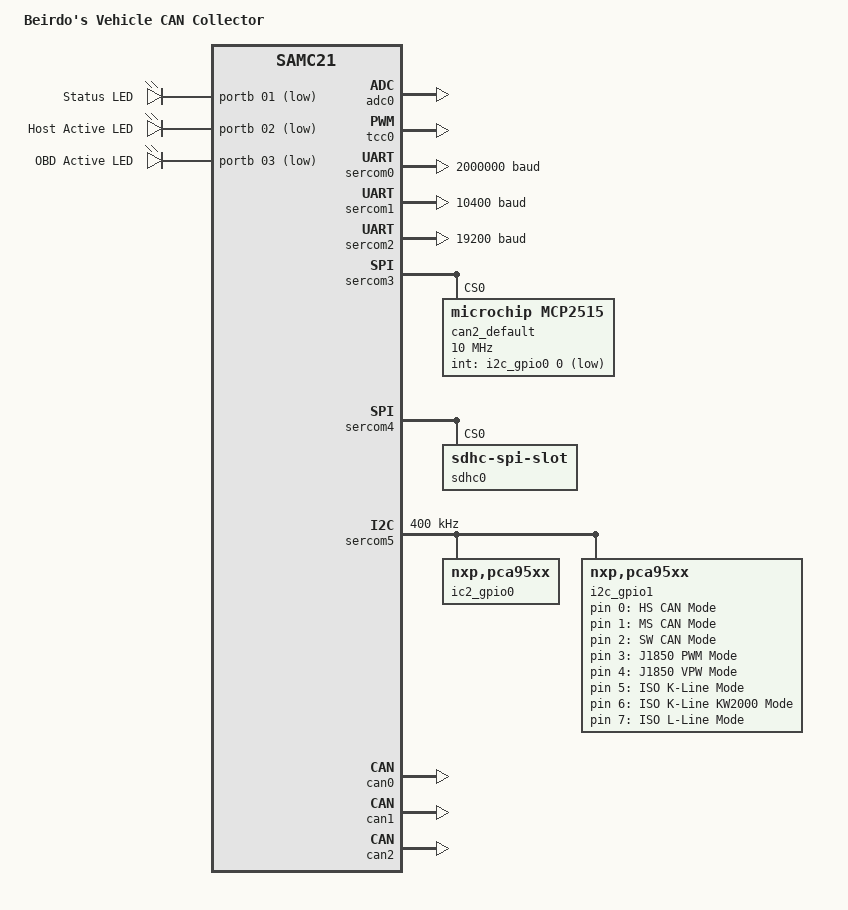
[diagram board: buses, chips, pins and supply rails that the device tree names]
/*
 * Copyright (c) 2022 Gavin Hurlbut
 * SPDX-License-Identifier: Apache-2.0
 */

/dts-v1/;

#include <atmel/samc21x18.dtsi>
#include "beirdo_can_collector-pinctrl.dtsi"

/ {
	model = "Beirdo's Vehicle CAN Collector";
	compatible = "beirdo,can_collector", "atmel,samc21j18a", "atmel,samc21";

	chosen {
		zephyr,console = &sercom0;
		zephyr,shell-uart = &sercom0;
		zephyr,sram = &sram0;
		zephyr,flash = &flash0;
	};

	/* These aliases are provided for compatibility with samples */
	aliases {
		led0 = &led0;
		i2c-0 = &sercom5;
		spi-0 = &sercom4;
		spi-1 = &sercom3;
	};

	leds {
		compatible = "gpio-leds";
		led0 {
			gpios = <&portb 01 GPIO_ACTIVE_LOW>;
			label = "Status LED";
		};

		led1 {
			gpios = <&portb 02 GPIO_ACTIVE_LOW>;
			label = "Host Active LED";
		};

		led2 {
			gpios = <&portb 03 GPIO_ACTIVE_LOW>;
			label = "OBD Active LED";
		};

		led3 {
			gpios = <&i2c_gpio1 0 GPIO_ACTIVE_HIGH>;
			label = "HS CAN Mode";
		};

		led4 {
			gpios = <&i2c_gpio1 1 GPIO_ACTIVE_HIGH>;
			label = "MS CAN Mode";
		};

		led5 {
			gpios = <&i2c_gpio1 2 GPIO_ACTIVE_HIGH>;
			label = "SW CAN Mode";
		};

		led6 {
			gpios = <&i2c_gpio1 3 GPIO_ACTIVE_HIGH>;
			label = "J1850 PWM Mode";
		};

		led7 {
			gpios = <&i2c_gpio1 4 GPIO_ACTIVE_HIGH>;
			label = "J1850 VPW Mode";
		};

		led8 {
			gpios = <&i2c_gpio1 5 GPIO_ACTIVE_HIGH>;
			label = "ISO K-Line Mode";
		};

		led9 {
			gpios = <&i2c_gpio1 6 GPIO_ACTIVE_HIGH>;
			label = "ISO K-Line KW2000 Mode";
		};

		led10 {
			gpios = <&i2c_gpio1 7 GPIO_ACTIVE_HIGH>;
			label = "ISO L-Line Mode";
		};
	};
};

&cpu0 {
	clock-frequency = <48000000>;
};

&adc0 {
	status = "okay";
	pinctrl-0 = <&adc0_default>;
	pinctrl-names = "default";
};

&adc1 {
	pinctrl-0 = <&adc1_default>;
	pinctrl-names = "default";
};

&tcc0 {
	status = "okay";
	compatible = "atmel,sam0-tcc-pwm";
	prescaler = <256>;
	pwm-cells = <2>;

	pinctrl-0 = <&pwm_default>;
	pinctrl-names = "default";
	interrupts = <&porta 28 GPIO_INT_EDGE_BOTH>;
};

&sercom0 {
	status = "okay";
	compatible = "atmel,sam0-uart";
	current-speed = <2000000>;
	rxpo = <1>;
	txpo = <2>;

	pinctrl-0 = <&sercom0_uart_default>;
	pinctrl-names = "default";
};

&sercom1 {
	status = "okay";
	compatible = "atmel,sam0-uart";
	current-speed = <10400>;
	rxpo = <1>;
	txpo = <0>;

	pinctrl-0 = <&sercom1_uart_default>;
	pinctrl-names = "default";
};

&sercom2 {
	status = "okay";
	compatible = "atmel,sam0-uart";
	current-speed = <19200>;
	rxpo = <2>;
	txpo = <0>;

	pinctrl-0 = <&sercom2_uart_default>;
	pinctrl-names = "default";
};

&sercom3 {
	status = "okay";
	compatible = "atmel,sam0-spi";
	dipo = <3>;
	dopo = <0>;
	#address-cells = <1>;
	#size-cells = <0>;

	pinctrl-0 = <&sercom3_spi_default>;
	pinctrl-names = "default";

	can2_default: can@0 {
		compatible = "microchip,mcp2515";
		spi-max-frequency = <10000000>;
		int-gpios = <&i2c_gpio0 0 GPIO_ACTIVE_LOW>;
		reg = <0x0>;
		osc-frequency = <12000000>;
		bus-speed = <33000>;
		sjw = <1>;
		sample-point = <875>;
		can-transceiver = {
			max-bitrate = <100000>;
		};
	};
};

&sercom4 {
	status = "okay";
	compatible = "atmel,sam0-spi";
	dipo = <3>;
	dopo = <0>;
	#address-cells = <1>;
	#size-cells = <0>;

	pinctrl-0 = <&sercom4_spi_default>;
	pinctrl-names = "default";

	sdhc0: sdhc@0 {
		compatible = "zephyr,sdhc-spi-slot";
		spi-max-frequency: <24000000>;
		reg = <0>;
		interrupts = <&porta 11 GPIO_ACTIVE_LOW>;

		sd0: sd@0 {
			compatible = "zephyr,sdmmc-disk";
			status = "okay";
		};
	};
};

&sercom5 {
	status = "okay";
	compatible = "atmel,sam0-i2c";
	clock-frequency = <I2C_BITRATE_FAST>;
	#address-cells = <1>;
	#size-cells = <0>;

	pinctrl-0 = <&sercom5_i2c_default>;
	pinctrl-names = "default";

	ic2_gpio0: nxp,pca95xx@0x20 {
		interrupt-gpios: <&porta 20 GPIO_ACTIVE_LOW>;
		pinmux = <PA20A_EXTINT14>;
		ngpios = <8>;
	};

	i2c_gpio1: nxp,pca95xx@0x21 {
		ngpios = <8>;
	};
};

&can0 {
	status = "okay";
	compatible = "atmel,sam0-can";
	clock-frequency = <500000>;
	pinctrl-0 = <&can0_default>;
	pinctrl-names = "default";
};

&can1 {
	status = "okay";
	compatible = "atmel,sam0-can";
	clock-frequency = <125000>;
	pinctrl-0 = <&can1_default>;
	pinctrl-names = "default";
};

&can2 {
	status = "okay";
	compatible = "microchip,mcp2515";
	pinctrl-0 = <&can2_default>;
	pinctrl-names = "default";
};


&flash0 {
	partitions {
		compatible = "fixed-partitions";
		#address-cells = <1>;
		#size-cells = <1>;

		/*
		 * The final 16 KiB is reserved for the application.
		 * Storage partition will be used by FCB/LittleFS/NVS
		 * if enabled.
		 */
		storage_partition: partition@3c000 {
			label = "storage";
			reg = <0x0003c000 0x00004000>;
		};
	};
};
